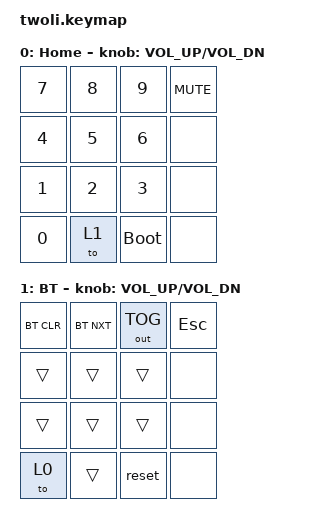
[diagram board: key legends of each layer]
#include <behaviors.dtsi>
#include <dt-bindings/zmk/keys.h>
#include <dt-bindings/zmk/bt.h>
#include <dt-bindings/zmk/backlight.h>
#include <dt-bindings/zmk/outputs.h>

/ {
    keymap {
        compatible = "zmk,keymap";

        default_layer {
            label = "Home";
            bindings = <
                &kp N7 &kp N8 &kp N9 &kp C_MUTE
                &kp N4 &kp N5 &kp N6 &none
                &kp N1 &kp N2 &kp N3 &none
                &kp N0 &to 1  &bootloader &none
            >;

            sensor-bindings = <&inc_dec_kp C_VOL_UP C_VOL_DN>;
        };

        layer_1 {
            label = "BT";
            bindings = <
                &bt BT_CLR &bt BT_NXT &out OUT_TOG &kp ESC
                &trans &trans &trans &none
                &trans &trans &trans &none
                &to 0  &trans &reset &none
            >;

            sensor-bindings = <&inc_dec_kp C_VOL_UP C_VOL_DN>;
        };

    };
};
